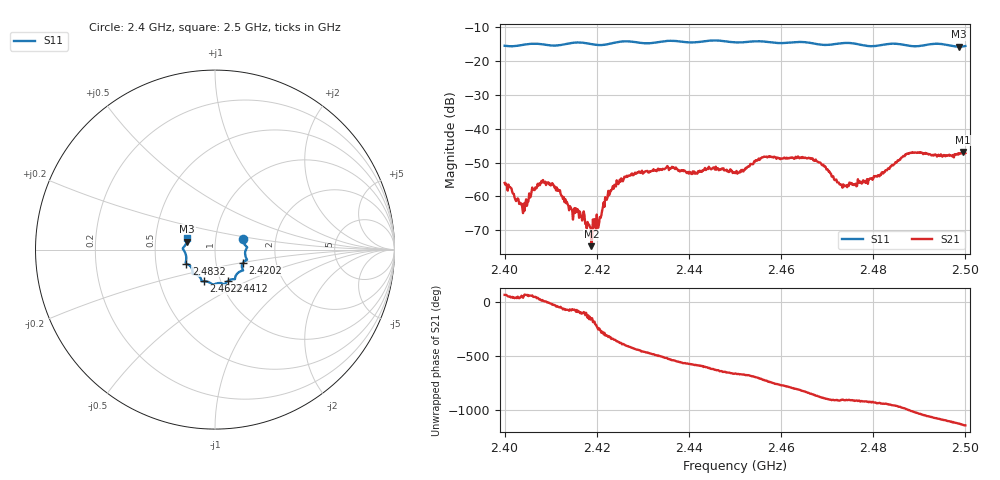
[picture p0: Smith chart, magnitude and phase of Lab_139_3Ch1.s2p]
# Hz S RI R 50
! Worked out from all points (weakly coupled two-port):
!   601 points, 2.4 GHz to 2.5 GHz, reference 50 ohm
!   highest |S21| = -46.91 dB at 2.4995 GHz (marker M1); lowest = -74.7 dB at 2.4188 GHz (marker M2)
!   lowest |S11| = -15.8 dB at 2.4987 GHz (marker M3), VSWR 1.39, Z = 36.4 + j3.36 ohm
!   |S11| at or under -10 dB: start of sweep to end of sweep
!   S12 and S22 are empty: the file has one direction only
!   S11 on the Smith chart (normalised r, x): 2.4 GHz: 1.36, +0.17; 2.4202 GHz: 1.35, -0.20; 2.4412 GHz: 1.09, -0.39; 2.4622 GHz: 0.83, -0.30; 2.4832 GHz: 0.72, -0.12; 2.5 GHz: 0.73, +0.09
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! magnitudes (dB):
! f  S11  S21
! 2.4 GHz  -15.5  -56.0
! 2.404 GHz  -15.2  -64.9
! 2.4077 GHz  -15.0  -56.7
! 2.41 GHz  -15.4  -56.8
! 2.4167 GHz  -14.6  -65.9
! 2.4188 GHz  -15.0  -74.7
! 2.4202 GHz  -15.3  -69.1
! 2.422 GHz  -15.2  -60.7
! 2.4248 GHz  -14.4  -55.9
! 2.4333 GHz  -14.4  -51.8
! 2.4412 GHz  -14.5  -52.7
! 2.45 GHz  -14.5  -53.1
! 2.4563 GHz  -14.3  -48.2
! 2.4622 GHz  -14.5  -48.6
! 2.4667 GHz  -14.7  -48.8
! 2.4738 GHz  -14.7  -56.9
! 2.4832 GHz  -15.0  -51.8
! 2.4833 GHz  -15.0  -51.9
! 2.488 GHz  -15.6  -47.1
! 2.4987 GHz  -15.8  -47.2
! 2.4995 GHz  -15.7  -46.9
! 2.5 GHz  -15.6  -47.2
